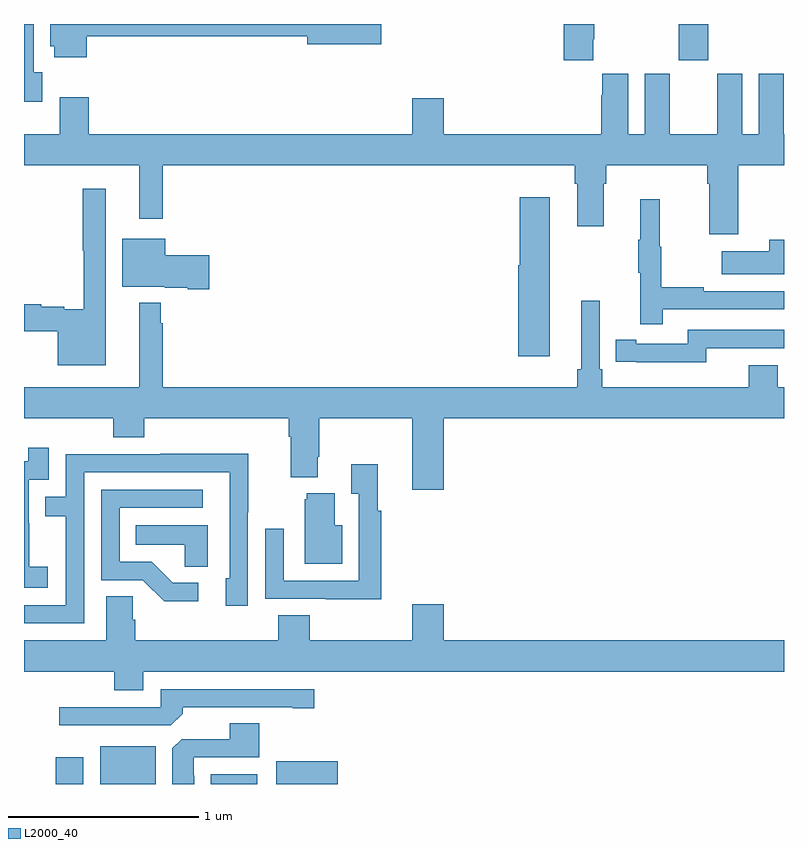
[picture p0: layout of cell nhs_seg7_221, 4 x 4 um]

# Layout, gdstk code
import gdstk
lib = gdstk.Library(unit=1e-6, precision=1e-09)
def R(c, l, rs):  # rectangles x0, y0, x1, y1
    for r in rs: c.add(gdstk.rectangle(r[:2], r[2:], *l))
def P(c, l, *ps):  # polygons
    for p in ps: c.add(gdstk.Polygon(p, *l))
L2000_40 = (2000, 40)

nhs_seg7_221 = lib.new_cell('nhs_seg7_221')
R(nhs_seg7_221, L2000_40, [(127.166,1024,127.312,1024.141), (127.4,1024,127.693,1024.198), (127.982,1024,128.227,1024.051), (128.328,1024,128.65,1024.12), (130.447,1027.809,130.602,1028)])
P(nhs_seg7_221, L2000_40, [(127.331,1027.936),(128.492,1027.936),(128.492,1027.894),(128.881,1027.894),(128.881,1028),(127.139,1028),(127.139,1027.884),(127.16,1027.884),(127.16,1027.824),(127.331,1027.824)],
  [(129.997,1027.921),(130.002,1027.921),(130.002,1028),(129.842,1028),(129.842,1027.809),(129.997,1027.809)],
  [(127.096,1027.746),(127.051,1027.746),(127.051,1028),(127,1028),(127,1027.592),(127.096,1027.592)],
  [(130.76,1027.256),(131,1027.256),(131,1027.42),(130.999,1027.42),(130.999,1027.738),(130.868,1027.738),(130.868,1027.42),(130.78,1027.42),(130.78,1027.738),(130.649,1027.738),(130.649,1027.42),(130.399,1027.42),(130.399,1027.738),(130.268,1027.738),(130.268,1027.42),(130.18,1027.42),(130.18,1027.738),(130.043,1027.738),(130.043,1027.625),(130.037,1027.625),(130.037,1027.42),(129.208,1027.42),(129.208,1027.609),(129.044,1027.609),(129.044,1027.42),(127.34,1027.42),(127.34,1027.615),(127.187,1027.615),(127.187,1027.42),(127,1027.42),(127,1027.256),(127.607,1027.256),(127.607,1026.975),(127.729,1026.975),(127.729,1027.256),(129.899,1027.256),(129.899,1027.16),(129.911,1027.16),(129.911,1026.936),(130.051,1026.936),(130.051,1027.16),(130.064,1027.16),(130.064,1027.256),(130.595,1027.256),(130.595,1027.16),(130.607,1027.16),(130.607,1026.894),(130.76,1026.894)],
  [(127.429,1027.132),(127.308,1027.132),(127.308,1026.807),(127.315,1026.807),(127.315,1026.499),(127.211,1026.499),(127.211,1026.512),(127.092,1026.512),(127.092,1026.524),(127,1026.524),(127,1026.382),(127.178,1026.382),(127.178,1026.203),(127.429,1026.203)],
  [(129.766,1027.087),(129.608,1027.087),(129.608,1026.729),(129.602,1026.729),(129.602,1026.252),(129.766,1026.252)],
  [(130.361,1026.498),(131,1026.498),(131,1026.594),(130.577,1026.594),(130.577,1026.614),(130.354,1026.614),(130.354,1026.828),(130.346,1026.828),(130.346,1027.078),(130.244,1027.078),(130.244,1026.865),(130.233,1026.865),(130.233,1026.691),(130.244,1026.691),(130.244,1026.42),(130.361,1026.42)],
  [(127.975,1026.783),(127.744,1026.783),(127.744,1026.871),(127.517,1026.871),(127.517,1026.617),(127.74,1026.617),(127.74,1026.611),(127.862,1026.611),(127.862,1026.605),(127.975,1026.605)],
  [(131,1026.865),(130.922,1026.865),(130.922,1026.805),(130.673,1026.805),(130.673,1026.683),(131,1026.683)],
  [(129.208,1025.924),(131,1025.924),(131,1026.088),(130.967,1026.088),(130.967,1026.205),(130.814,1026.205),(130.814,1026.088),(130.043,1026.088),(130.043,1026.184),(130.029,1026.184),(130.029,1026.544),(129.932,1026.544),(129.932,1026.184),(129.913,1026.184),(129.913,1026.088),(127.729,1026.088),(127.729,1026.425),(127.721,1026.425),(127.721,1026.532),(127.607,1026.532),(127.607,1026.088),(127,1026.088),(127,1025.924),(127.469,1025.924),(127.469,1025.825),(127.634,1025.825),(127.634,1025.924),(128.393,1025.924),(128.393,1025.828),(128.405,1025.828),(128.405,1025.615),(128.545,1025.615),(128.545,1025.722),(128.553,1025.722),(128.553,1025.924),(129.044,1025.924),(129.044,1025.55),(129.208,1025.55)],
  [(130.59,1026.294),(131,1026.294),(131,1026.39),(130.494,1026.39),(130.494,1026.318),(130.222,1026.318),(130.222,1026.338),(130.114,1026.338),(130.114,1026.222),(130.222,1026.222),(130.222,1026.221),(130.59,1026.221)],
  [(127.126,1025.143),(127.028,1025.143),(127.028,1025.372),(127.026,1025.372),(127.026,1025.601),(127.131,1025.601),(127.131,1025.77),(127.023,1025.77),(127.023,1025.7),(127,1025.7),(127,1025.033),(127.126,1025.033)],
  [(127.317,1025.64),(128.082,1025.64),(128.082,1025.082),(128.063,1025.082),(128.063,1024.938),(128.178,1024.938),(128.178,1025.431),(128.181,1025.431),(128.181,1025.738),(127.717,1025.738),(127.717,1025.736),(127.221,1025.736),(127.221,1025.511),(127.111,1025.511),(127.111,1025.41),(127.221,1025.41),(127.221,1024.941),(127,1024.941),(127,1024.845),(127.317,1024.845)],
  [(128.879,1025.438),(128.861,1025.438),(128.861,1025.683),(128.723,1025.683),(128.723,1025.527),(128.763,1025.527),(128.763,1025.07),(128.367,1025.07),(128.367,1025.344),(128.271,1025.344),(128.271,1024.974),(128.587,1024.974),(128.587,1024.973),(128.879,1024.973)],
  [(127.918,1025.058),(127.783,1025.058),(127.672,1025.169),(127.503,1025.169),(127.503,1025.454),(127.942,1025.454),(127.942,1025.55),(127.407,1025.55),(127.407,1025.073),(127.626,1025.073),(127.739,1024.961),(127.918,1024.961)],
  [(128.674,1025.362),(128.635,1025.362),(128.635,1025.53),(128.489,1025.53),(128.489,1025.499),(128.477,1025.499),(128.477,1025.159),(128.674,1025.159)],
  [(127.966,1025.362),(127.588,1025.362),(127.588,1025.258),(127.845,1025.258),(127.845,1025.143),(127.966,1025.143)],
  [(127.627,1024.592),(131,1024.592),(131,1024.756),(129.208,1024.756),(129.208,1024.945),(129.044,1024.945),(129.044,1024.756),(128.504,1024.756),(128.504,1024.889),(128.339,1024.889),(128.339,1024.756),(127.586,1024.756),(127.586,1024.865),(127.572,1024.865),(127.572,1024.988),(127.433,1024.988),(127.433,1024.756),(127,1024.756),(127,1024.592),(127.475,1024.592),(127.475,1024.493),(127.627,1024.493)],
  [(127.835,1024.37),(127.835,1024.404),(128.414,1024.404),(128.414,1024.399),(128.527,1024.399),(128.527,1024.5),(127.719,1024.5),(127.719,1024.404),(127.185,1024.404),(127.185,1024.308),(127.773,1024.308)],
  [(127.897,1024.043),(127.893,1024.043),(127.893,1024.14),(128.237,1024.14),(128.237,1024.319),(128.084,1024.319),(128.084,1024.236),(127.83,1024.236),(127.781,1024.187),(127.781,1024),(127.897,1024)])

lib.write_gds('nhs_seg7_221.gds')
